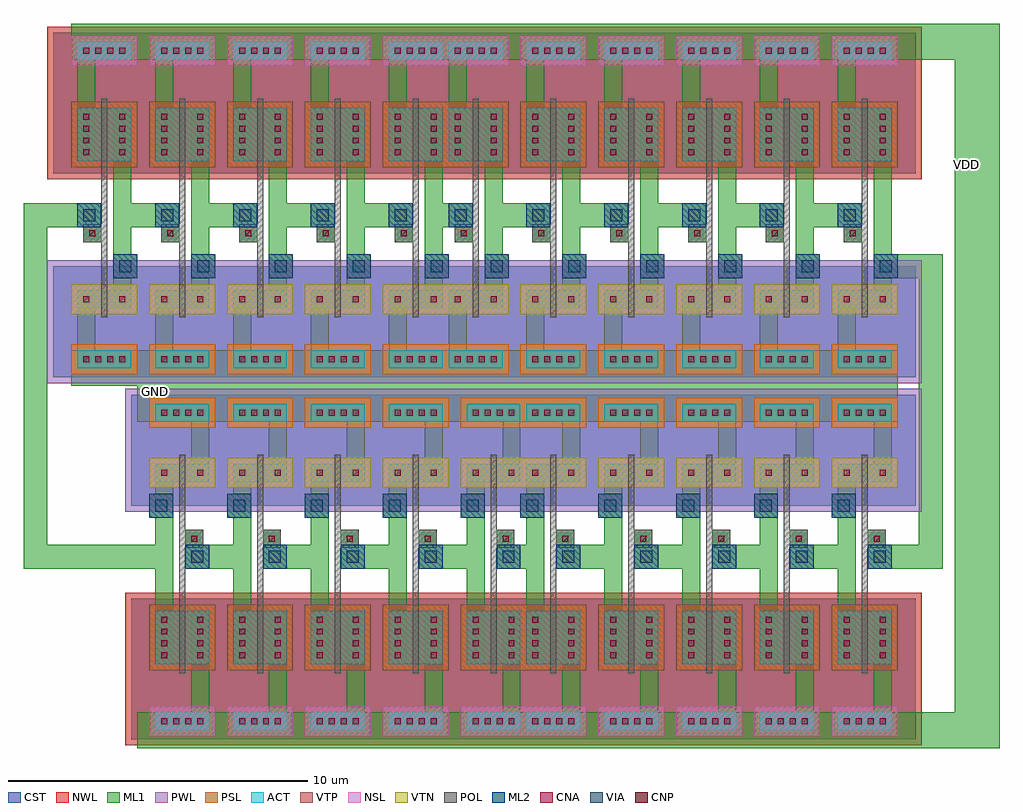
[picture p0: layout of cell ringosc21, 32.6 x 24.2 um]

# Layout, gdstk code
from math import pi, radians
import gdstk
lib = gdstk.Library(unit=1e-6, precision=1e-10)
def R(c, l, rs):  # rectangles x0, y0, x1, y1
    for r in rs: c.add(gdstk.rectangle(r[:2], r[2:], *l))
def A(c, l, x, y, w, h, nx, ny, dx, dy):  # array of equal rectangles
    R(c, l, [(x+i*dx, y+j*dy, x+i*dx+w, y+j*dy+h) for i in range(nx) for j in range(ny)])
NWL = (1, 0)
PWL = (2, 0)
CST = (3, 0)
ACT = (4, 0)
VTN = (5, 0)
VTP = (6, 0)
POL = (7, 0)
NSL = (8, 0)
PSL = (9, 0)
CNA = (10, 0)
CNP = (11, 0)
ML1 = (12, 0)
VIA = (13, 0)
ML2 = (14, 0)

inv1 = lib.new_cell('inv1')
R(inv1, NWL, [(-0.8,6.9,3,12)])
R(inv1, PWL, [(-0.8,0.1,3,4.2)])
R(inv1, CST, [(-0.6,0.3,2.8,4), (-0.6,7.1,2.8,11.8)])
R(inv1, ACT, [(0.2,0.6,2,1.2), (0.2,2.6,2,3.2), (0.2,7.5,2,9.3), (0.2,10.9,2,11.5)])
R(inv1, VTN, [(0,2.4,2.2,3.4)])
R(inv1, VTP, [(0,7.3,2.2,9.5)])
R(inv1, POL, [(1,2.3,1.2,9.6), (0.4,4.8,1,5.4)])
R(inv1, NSL, [(0,2.4,2.2,3.4), (0,10.7,2.2,11.7)])
R(inv1, PSL, [(0,0.4,2.2,1.4), (0,7.3,2.2,9.5)])
A(inv1, CNA, 0.4, 0.8, 0.2, 0.2, 4, 2, 0.4, 10.3)
A(inv1, CNA, 0.4, 7.7, 0.2, 0.2, 1, 4, 0, 0.4)
A(inv1, CNA, 1.6, 7.7, 0.2, 0.2, 1, 4, 0, 0.4)
R(inv1, CNA, [(0.4,2.8,0.6,3), (1.6,2.8,1.8,3)])
R(inv1, CNP, [(0.6,5,0.8,5.2)])
R(inv1, ML1, [(0,0,2.2,1.2), (0.2,1.2,0.8,3.2), (1.4,2.6,2,9.3), (1.4,3.6,2.2,4.4), (0.4,4.8,1,5.4), (0.2,5.3,1,6.1), (0.2,7.5,0.8,10.9), (0,10.9,2.2,12.1)])
R(inv1, VIA, [(1.6,3.8,2,4.2), (0.4,5.5,0.8,5.9)])
R(inv1, ML2, [(1.4,3.6,2.2,4.4), (0.2,5.3,1,6.1)])
inv1.add(gdstk.Label('Vdd', (0.7,11.6), layer=12, texttype=0))
inv1.add(gdstk.Label('I', (0.5,5.3), layer=12, texttype=0))
inv1.add(gdstk.Label('O', (1.5,5.1), layer=12, texttype=0))
inv1.add(gdstk.Label('Gnd', (0.7,0.2), layer=12, texttype=0))

inv10 = lib.new_cell('inv10')
A(inv10, ML1, 2.2, 0, 0.4, 1.2, 5, 2, 2.6, 10.9)
A(inv10, ML1, 14.6, 0, 0.4, 1.2, 5, 2, 2.6, 10.9)
A(inv10, ML1, 2, 5.3, 0.8, 0.8, 5, 1, 2.6, 0)
A(inv10, ML1, 14.4, 5.3, 0.8, 0.8, 5, 1, 2.6, 0)
inv10.add(gdstk.Reference(inv1, (15,0)))
inv10.add(gdstk.Reference(inv1, (20.2,0)))
inv10.add(gdstk.Reference(inv1, (0,0)))
inv10.add(gdstk.Reference(inv1, (2.6,0)))
inv10.add(gdstk.Reference(inv1, (5.2,0)))
inv10.add(gdstk.Reference(inv1, (7.8,0)))
inv10.add(gdstk.Reference(inv1, (10.4,0)))
inv10.add(gdstk.Reference(inv1, (12.4,0)))
inv10.add(gdstk.Reference(inv1, (22.8,0)))
inv10.add(gdstk.Reference(inv1, (17.6,0)))
inv10.add(gdstk.Label('GND', (2.4,1), layer=12, texttype=0))
inv10.add(gdstk.Label('IN', (0.3,5.9), layer=12, texttype=0))
inv10.add(gdstk.Label('OUT', (25.1,6), layer=12, texttype=0))
inv10.add(gdstk.Label('VDD', (2.3,11.8), layer=12, texttype=0))

ringosc21 = lib.new_cell('ringosc21')
R(ringosc21, ML1, [(27.6,-12.1,31,-10.9), (29.5,-10.9,31,12.1), (-1.6,-6.1,-0.8,6.1), (-0.8,-6.1,2.5,-5.3), (27.4,-6.1,28.3,-5.3), (28.3,-6.1,29.1,4.4), (27.6,3.6,28.3,4.4), (-0.8,5.3,0.2,6.1), (27.6,10.9,29.5,12.1)])
ringosc21.add(gdstk.Reference(inv10, (0,0)))
ringosc21.add(gdstk.Reference(inv10, (27.6,0), rotation=pi))
ringosc21.add(gdstk.Reference(inv1, (25.4,0)))
ringosc21.add(gdstk.Label('GND', (2.8,-0.2), layer=12, texttype=0))
ringosc21.add(gdstk.Label('VDD', (29.9,7.4), layer=12, texttype=0))

lib.write_gds('ringosc21.gds')
